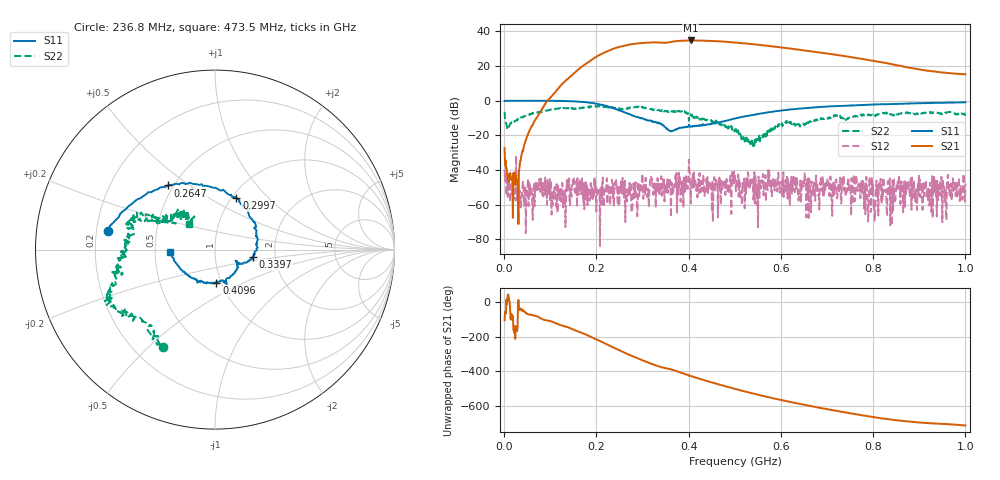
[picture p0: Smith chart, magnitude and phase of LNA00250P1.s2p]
! Created with skrf 1.9.0 (http://scikit-rf.org).
# Hz S RI R 50.0
!freq ReS11 ImS11 ReS21 ImS21 ReS12 ImS12 ReS22 ImS22
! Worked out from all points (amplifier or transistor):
!   1001 points, 1 MHz to 1 GHz, reference 50 ohm
!   highest |S21| = 34.8 dB at 404.6 MHz (marker M1)
!   |S21| within 3 dB of that: 262 MHz to 568.6 MHz (306.7 MHz wide, 73.8 % of centre)
!   unconditionally stable (mu >= 1): start of sweep to 93.81 MHz; 306.7 MHz to 378.5 MHz; 401.6 MHz to end of sweep (the widest 3 of 23)
!   at 166.8 MHz: K = 1.97, MAG = 31.0 dB, |S12| = -54.1 dB
!   at 500.5 MHz: K = 1.47, MAG = 34.5 dB, |S12| = -43.4 dB
!   at 1 GHz: K = 3.70, MAG = 22.9 dB, |S12| = -47.8 dB
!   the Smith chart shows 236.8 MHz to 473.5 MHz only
!   S11 on the Smith chart (normalised r, x): 236.8 MHz: 0.25, +0.08; 264.7 MHz: 0.47, +0.41; 299.7 MHz: 1.05, +0.67; 339.7 MHz: 1.53, -0.13; 409.6 MHz: 0.95, -0.37; 473.5 MHz: 0.60, -0.02
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1000000  0.9772 0.00636  -0.0114 -0.0415  -0.0102 0.000787  0.3395 0.3354
1.08892e8  0.5004 -0.854  -0.7819 -1.464  -0.00217 -0.00229  0.4176 -0.3725
1.67833e8  -0.2682 -0.8861  -9.525 -0.5035  -0.0014 -0.00172  0.024 -0.6363
2.07793e8  -0.6832 -0.3783  -15.15 14.98  3.12e-05 5.45e-05  -0.1886 -0.6753
2.36764e8  -0.5947 0.1063  -4.317 31.34  0.00395 -0.000729  -0.2886 -0.5432
2.64736e8  -0.2632 0.3571  17.81 35.71  0.000916 0.00264  -0.448 -0.3812
2.99701e8  0.1192 0.2886  42.64 18.77  -0.007 0.00337  -0.6071 -0.266
3.34666e8  0.2327 -0.00288  47.18 -9.198  -0.00367 0.00198  -0.5286 -0.0438
3.39661e8  0.2103 -0.0403  45.87 -12.41  -0.00164 0.00163  -0.5143 -0.0102
3.72628e8  0.1279 -0.0783  41.65 -32.42  -0.00172 0.00374  -0.4762 0.1336
4.04596e8  0.0377 -0.1706  21.04 -50.89  -0.00105 0.000232  -0.375 0.1583
4.09591e8  0.00743 -0.1877  17.38 -52.11  0.004 0.00725  -0.283 0.1545
4.39561e8  -0.1358 -0.1541  -5.88 -53.57  0.0023 0.00244  -0.1985 0.1955
4.73527e8  -0.2507 -0.0156  -27.53 -43.18  0.00182 0.00214  -0.1441 0.1407
5.005e8  -0.2777 0.1333  -38.2 -29.67  0.00145 0.00664  -0.0916 0.1134
5.39461e8  -0.1925 0.3355  -42.1 -8.428  0.00389 -0.00378  -0.0527 0.0213
5.85415e8  0.00397 0.4895  -35.13 11.11  0.00231 -0.00345  -0.1475 -0.0703
6.25375e8  0.1998 0.5299  -23.87 20.27  0.00244 1.82e-06  -0.186 -0.122
6.67333e8  0.4032 0.4916  -12.02 23.46  0.00188 -0.0042  -0.2501 -0.0645
7.53247e8  0.6756 0.2747  4.494 17.51  -0.0057 -0.00102  -0.3264 0.0233
8.34166e8  0.7946 0.0158  8.765 7.921  -0.00163 0.000722  -0.4145 0.0825
1e9  0.7282 -0.5265  5.795 0.6564  0.00118 -0.0039  -0.19 0.362
